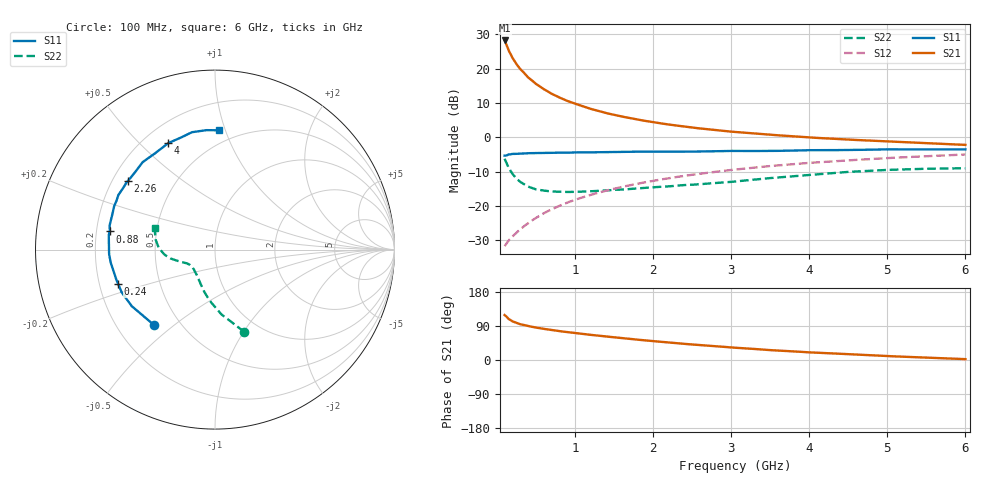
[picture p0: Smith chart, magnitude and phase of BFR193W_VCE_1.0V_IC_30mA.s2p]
! Infineon Technologies  Discrete & RF Semiconductors
! BFR193W
! VCE =  1.0 V,  IC =  30 mA
! Common Emitter S-Parameters:  Nov 2015
# GHz  S  MA  R  50
!  f  S11  S21  S12  S22
! GHz  MAG  ANG  MAG  ANG  MAG  ANG  MAG  ANG
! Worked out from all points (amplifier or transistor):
!   192 points, 100 MHz to 6 GHz, reference 50 ohm
!   highest |S21| = 28.3 dB at 100 MHz (marker M1)
!   |S21| within 3 dB of that: start of sweep to 153.8 MHz
!   unconditionally stable (mu >= 1): 516.6 MHz to 2.765 GHz
!   at 440 MHz: K = 0.97, MSG = 20.6 dB, |S12| = -24.4 dB
!   at 1.7 GHz: K = 1.04, MAG = 8.6 dB, |S12| = -14.0 dB
!   at 6 GHz: K = 0.96, MSG = 1.4 dB, |S12| = -5.0 dB
!   S11 on the Smith chart (normalised r, x): 100 MHz: 0.36, -0.43; 240 MHz: 0.28, -0.16; 880 MHz: 0.25, +0.08; 2.26 GHz: 0.26, +0.32; 4 GHz: 0.30, +0.61; 6 GHz: 0.40, +0.95
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0.1  0.5405 -128.7  25.86 118.6  0.0258 54.2  0.4863 -70.4
0.15  0.5606 -145.8  18.63 108.4  0.031 54.1  0.3615 -84.5
0.2  0.572 -155.4  14.44 102.0  0.0356 55.9  0.2939 -94.4
0.24  0.5732 -160.5  12.26 98.8  0.0394 57.9  0.2588 -100.8
0.26  0.5744 -162.7  11.36 97.2  0.0414 58.8  0.2451 -103.7
0.3  0.5766 -166.4  9.899 94.4  0.0455 60.4  0.2239 -108.4
0.4  0.5858 -173.0  7.484 89.4  0.0557 63.9  0.1909 -118.3
0.5  0.5905 -177.7  6.028 85.5  0.0665 66.0  0.1741 -125.6
0.6  0.5906 178.3  5.049 82.2  0.0777 67.2  0.1671 -131.4
0.7  0.5937 175.2  4.328 79.0  0.0887 68.0  0.162 -135.4
0.88  0.5959 170.2  3.484 74.1  0.1089 68.5  0.1597 -141.0
1  0.6024 167.0  3.088 71.0  0.1222 68.3  0.1598 -143.6
1.1  0.6022 164.5  2.843 68.9  0.1332 67.9  0.1613 -145.9
1.2  0.6031 162.1  2.602 66.4  0.1443 67.6  0.1631 -148.2
1.5  0.6118 156.7  2.125 59.9  0.1772 66.1  0.1711 -152.1
2.08  0.6168 144.8  1.609 48.4  0.24 62.0  0.1888 -157.4
2.26  0.618 141.9  1.504 45.2  0.259 60.5  0.1949 -158.7
3.1  0.6314 128.0  1.184 31.8  0.3428 52.8  0.2296 -165.3
4  0.6481 113.6  0.995 20.2  0.4232 44.4  0.2821 -174.2
4.1  0.6482 112.3  0.98 19.3  0.4305 43.4  0.2879 -175.8
5.1  0.6659 99.7  0.861 9.5  0.5042 34.4  0.3367 169.4
6  0.665 88.3  0.775 2.3  0.5608 26.3  0.3535 159.7
